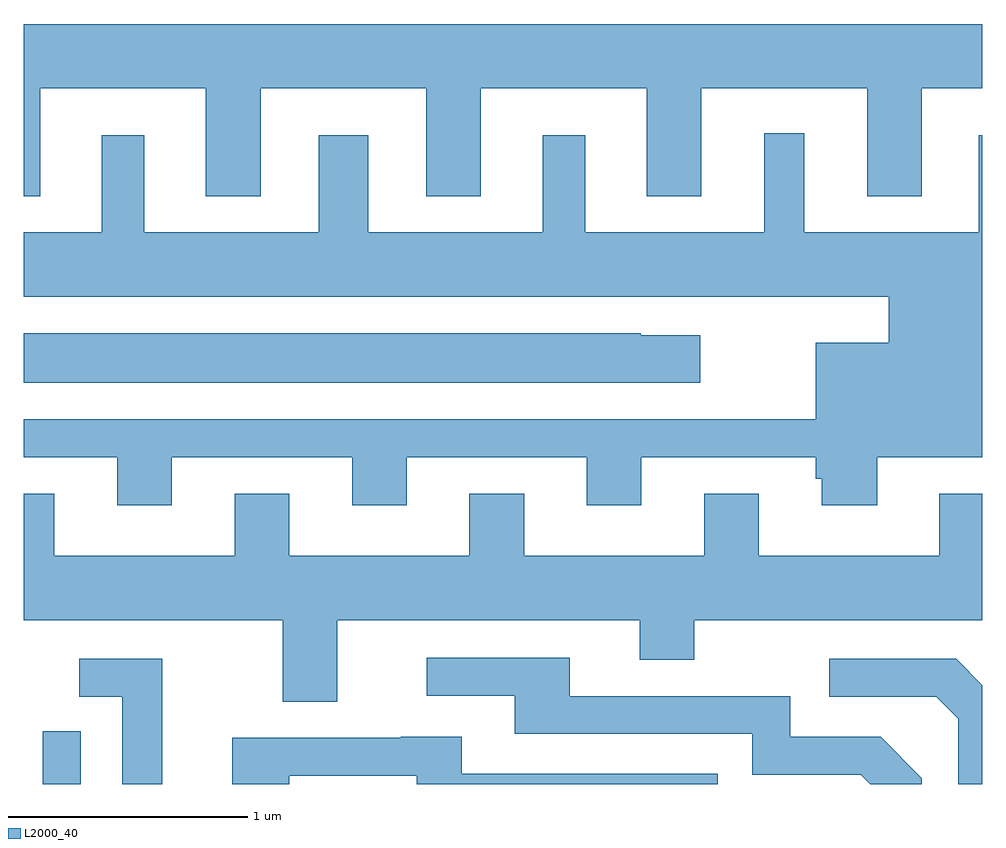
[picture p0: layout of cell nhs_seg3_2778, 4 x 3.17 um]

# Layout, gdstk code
import gdstk
lib = gdstk.Library(unit=1e-6, precision=1e-09)
def R(c, l, rs):  # rectangles x0, y0, x1, y1
    for r in rs: c.add(gdstk.rectangle(r[:2], r[2:], *l))
def P(c, l, *ps):  # polygons
    for p in ps: c.add(gdstk.Polygon(p, *l))
L2000_40 = (2000, 40)

nhs_seg3_2778 = lib.new_cell('nhs_seg3_2778')
R(nhs_seg3_2778, L2000_40, [(265.691,1231.892,265.849,1232.113)])
P(nhs_seg3_2778, L2000_40, [(265.679,1234.796),(266.371,1234.796),(266.371,1234.346),(266.599,1234.346),(266.599,1234.796),(267.291,1234.796),(267.291,1234.346),(267.519,1234.346),(267.519,1234.796),(268.211,1234.796),(268.211,1234.346),(268.439,1234.346),(268.439,1234.796),(269.131,1234.796),(269.131,1234.346),(269.359,1234.346),(269.359,1234.796),(269.611,1234.796),(269.611,1235.064),(265.611,1235.064),(265.611,1234.346),(265.679,1234.346)],
  [(266.229,1233.256),(266.981,1233.256),(266.981,1233.056),(267.209,1233.056),(267.209,1233.256),(267.961,1233.256),(267.961,1233.056),(268.189,1233.056),(268.189,1233.256),(268.916,1233.256),(268.916,1233.166),(268.941,1233.166),(268.941,1233.056),(269.174,1233.056),(269.174,1233.256),(269.611,1233.256),(269.611,1234.599),(269.596,1234.599),(269.596,1234.194),(268.869,1234.194),(268.869,1234.608),(268.701,1234.608),(268.701,1234.194),(267.954,1234.194),(267.954,1234.599),(267.776,1234.599),(267.776,1234.194),(267.049,1234.194),(267.049,1234.599),(266.841,1234.599),(266.841,1234.194),(266.114,1234.194),(266.114,1234.599),(265.936,1234.599),(265.936,1234.194),(265.611,1234.194),(265.611,1233.926),(269.221,1233.926),(269.221,1233.734),(268.916,1233.734),(268.916,1233.414),(265.611,1233.414),(265.611,1233.256),(266.001,1233.256),(266.001,1233.056),(266.229,1233.056)],
  [(268.434,1233.764),(268.185,1233.764),(268.185,1233.774),(265.611,1233.774),(265.611,1233.566),(268.434,1233.566)],
  [(266.919,1232.576),(268.181,1232.576),(268.181,1232.411),(268.409,1232.411),(268.409,1232.576),(269.611,1232.576),(269.611,1233.104),(269.431,1233.104),(269.431,1232.844),(268.679,1232.844),(268.679,1233.104),(268.451,1233.104),(268.451,1232.844),(267.699,1232.844),(267.699,1233.104),(267.471,1233.104),(267.471,1232.844),(266.719,1232.844),(266.719,1233.104),(266.491,1233.104),(266.491,1232.844),(265.739,1232.844),(265.739,1233.104),(265.611,1233.104),(265.611,1232.576),(266.691,1232.576),(266.691,1232.236),(266.919,1232.236)],
  [(269.359,1231.917),(269.187,1232.089),(268.809,1232.089),(268.809,1232.259),(267.889,1232.259),(267.889,1232.419),(267.293,1232.419),(267.293,1232.261),(267.661,1232.261),(267.661,1232.101),(268.651,1232.101),(268.651,1231.931),(269.104,1231.931),(269.143,1231.892),(269.359,1231.892)],
  [(266.189,1232.414),(265.843,1232.414),(265.843,1232.256),(266.021,1232.256),(266.021,1231.892),(266.189,1231.892)],
  [(269.611,1232.305),(269.502,1232.414),(268.973,1232.414),(268.973,1232.256),(269.419,1232.256),(269.511,1232.164),(269.511,1231.892),(269.611,1231.892)],
  [(266.719,1231.926),(267.251,1231.926),(267.251,1231.892),(268.508,1231.892),(268.508,1231.934),(267.439,1231.934),(267.439,1232.089),(267.185,1232.089),(267.185,1232.084),(266.481,1232.084),(266.481,1231.892),(266.719,1231.892)])

lib.write_gds('nhs_seg3_2778.gds')
